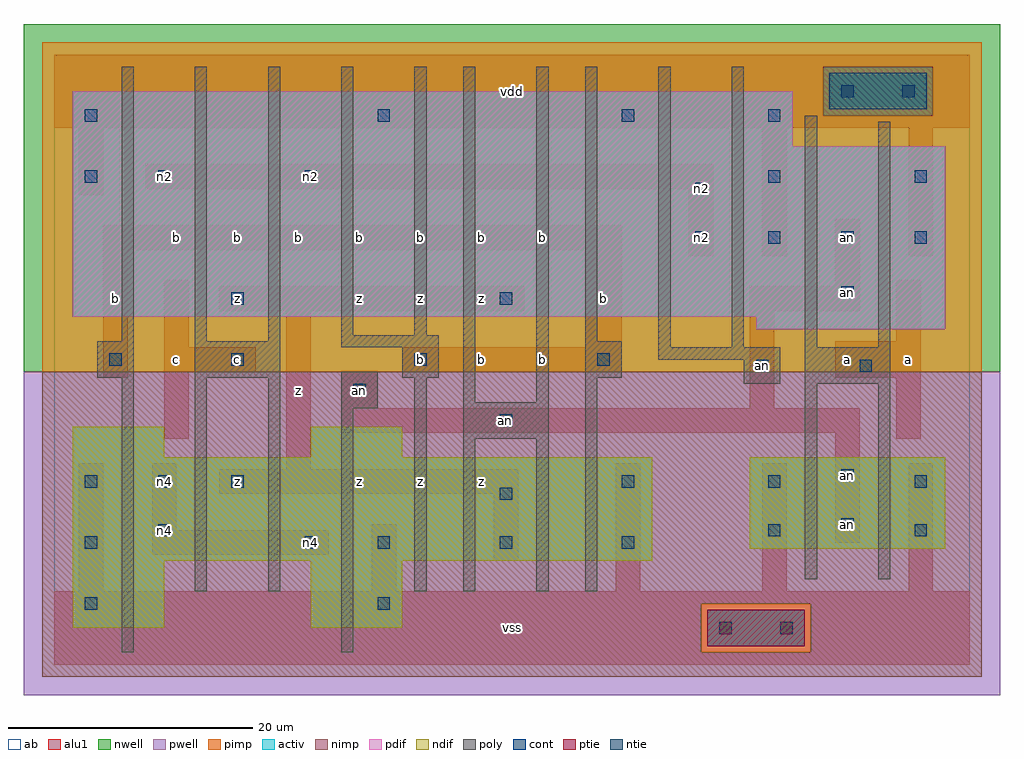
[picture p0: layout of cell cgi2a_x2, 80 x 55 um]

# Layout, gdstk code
import gdstk
lib = gdstk.Library(unit=1e-6, precision=1e-09)
def R(c, l, rs):  # rectangles x0, y0, x1, y1
    for r in rs: c.add(gdstk.rectangle(r[:2], r[2:], *l))
def A(c, l, x, y, w, h, nx, ny, dx, dy):  # array of equal rectangles
    R(c, l, [(x+i*dx, y+j*dy, x+i*dx+w, y+j*dy+h) for i in range(nx) for j in range(ny)])
ndif = (3, 0)
pdif = (4, 0)
ntie = (5, 0)
ptie = (6, 0)
cont = (25, 0)
pwell = (41, 0)
nwell = (42, 0)
activ = (43, 0)
pimp = (44, 0)
nimp = (45, 0)
poly = (46, 0)
alu1 = (49, 0)
ab = (63, 0)

cgi2a_x2 = lib.new_cell('cgi2a_x2')
R(cgi2a_x2, ndif, [(1.5,3,9,8.5), (21,3,28.5,8.5), (1.5,8.5,49,17), (57,9.5,73,17), (1.5,17,9,19.5), (21,17,28.5,19.5)])
R(cgi2a_x2, pdif, [(57.5,27.5,73,28.5), (1.5,28.5,73,42.5), (1.5,42.5,60.5,47)])
R(cgi2a_x2, ntie, [(63.5,45.5,71.5,48.5)])
R(cgi2a_x2, ptie, [(53.5,1.5,61.5,4.5)])
A(cgi2a_x2, cont, 26.5, 9.5, 1, 1, 3, 1, 10, 0)
A(cgi2a_x2, cont, 2.5, 14.5, 1, 1, 3, 1, 6, 0)
A(cgi2a_x2, cont, 46.5, 14.5, 1, 1, 3, 1, 12, 0)
A(cgi2a_x2, cont, 14.5, 24.5, 1, 1, 3, 1, 15, 0)
A(cgi2a_x2, cont, 52.5, 34.5, 1, 1, 4, 1, 6, 0)
R(cgi2a_x2, cont, [(54.5,2.5,55.5,3.5), (59.5,2.5,60.5,3.5), (2.5,4.5,3.5,5.5), (26.5,4.5,27.5,5.5), (2.5,9.5,3.5,10.5), (20.5,9.5,21.5,10.5), (8.5,10.5,9.5,11.5), (58.5,10.5,59.5,11.5), (70.5,10.5,71.5,11.5), (64.5,11,65.5,12), (36.5,13.5,37.5,14.5), (64.5,15,65.5,16), (36.5,19.5,37.5,20.5), (24.5,22,25.5,23), (57.5,24,58.5,25), (66,24,67,25), (4.5,24.5,5.5,25.5), (14.5,29.5,15.5,30.5), (36.5,29.5,37.5,30.5), (64.5,30,65.5,31), (52.5,38.5,53.5,39.5), (2.5,39.5,3.5,40.5), (8.5,39.5,9.5,40.5), (20.5,39.5,21.5,40.5), (58.5,39.5,59.5,40.5), (70.5,39.5,71.5,40.5), (2.5,44.5,3.5,45.5), (26.5,44.5,27.5,45.5), (46.5,44.5,47.5,45.5), (58.5,44.5,59.5,45.5), (64.5,46.5,65.5,47.5), (69.5,46.5,70.5,47.5)])
R(cgi2a_x2, pwell, [(-2.5,-2.5,77.5,24)])
R(cgi2a_x2, nwell, [(-2.5,24,77.5,52.5)])
R(cgi2a_x2, activ, [(53.5,1.5,61.5,4.5), (1.5,3,9,8.5), (21,3,28.5,8.5), (1.5,8.5,49,17), (57,9.5,73,17), (1.5,17,9,19.5), (21,17,28.5,19.5), (57.5,27.5,73,28.5), (1.5,28.5,73,42.5), (1.5,42.5,60.5,47), (63.5,45.5,71.5,48.5)])
R(cgi2a_x2, pimp, [(53,1,62,5), (-1,24,76,45), (-1,45,63,49), (72,45,76,49), (-1,49,76,51)])
R(cgi2a_x2, nimp, [(-1,-1,76,1), (-1,1,53,5), (62,1,76,5), (-1,5,76,24), (63,45,72,49)])
A(cgi2a_x2, poly, 5.5, 26.5, 1, 22.5, 3, 1, 6, 0)
R(cgi2a_x2, poly, [(5.5,1,6.5,23.5), (23.5,1,24.5,21), (11.5,6,12.5,23.5), (17.5,6,18.5,23.5), (29.5,6,30.5,23.5), (33.5,6,34.5,18.5), (39.5,6,40.5,18.5), (43.5,6,44.5,23.5), (61.5,7,62.5,23), (67.5,7,68.5,23), (33.5,18.5,40.5,21.5), (23.5,21,26.5,24), (33.5,21.5,34.5,49), (39.5,21.5,40.5,49), (56.5,23,59.5,25), (61.5,23,68.5,26), (3.5,23.5,6.5,26.5), (11.5,23.5,18.5,26.5), (28.5,23.5,31.5,26), (43.5,23.5,46.5,26.5), (49.5,25,59.5,26), (23.5,26,31.5,27), (49.5,26,50.5,49), (55.5,26,56.5,49), (61.5,26,62.5,45), (67.5,26,68.5,44.5), (43.5,26.5,44.5,49), (23.5,27,24.5,49), (29.5,27,30.5,49)])
R(cgi2a_x2, alu1, [(0,0,75,6), (0,0,75,6), (2,6,4,16.5), (2,6,4,16.5), (26,6,28,11.5), (26,6,28,11.5), (46,6,48,16.5), (46,6,48,16.5), (58,6,60,16.5), (58,6,60,16.5), (70,6,72,16.5), (70,6,72,16.5), (36,8.5,38,14), (36,8.5,38,14), (8,9,22.5,11), (8,9,22.5,11), (64,10,66,19), (64,10,66,19), (8,11,10,16.5), (8,11,10,16.5), (13.5,14,38,16), (13.5,14,38,16), (19,16,21,29), (19,16,21,29), (9,18.5,11,24), (9,18.5,11,24), (69,18.5,71,23.5), (69,18.5,71,23.5), (23.5,19,66,21), (23.5,19,66,21), (23.5,21,26.5,24), (23.5,21,26.5,24), (57,21,59,29), (57,21,59,29), (4,23.5,6,34), (4,23.5,6,34), (64,23.5,71,26.5), (64,23.5,71,26.5), (9,24,16.5,26), (9,24,16.5,26), (28.5,24,46.5,26), (28.5,24,46.5,26), (9,26,11,31.5), (9,26,11,31.5), (43.5,26,46.5,34), (43.5,26,46.5,34), (69,26.5,71,31.5), (69,26.5,71,31.5), (13.5,29,38.5,31), (13.5,29,38.5,31), (57,29,66,31), (57,29,66,31), (64,31,66,36.5), (64,31,66,36.5), (52,33.5,54,39), (52,33.5,54,39), (58,33.5,60,44), (58,33.5,60,44), (70,33.5,72,44), (70,33.5,72,44), (4,34,46.5,36), (4,34,46.5,36), (2,38.5,4,44), (2,38.5,4,44), (7.5,39,54,41), (7.5,39,54,41), (0,44,75,50), (0,44,75,50)])
R(cgi2a_x2, ab, [(0,0,75,50)])
cgi2a_x2.add(gdstk.Label('n4', (9,11), layer=49, texttype=0))
cgi2a_x2.add(gdstk.Label('n4', (9,15), layer=49, texttype=0))
cgi2a_x2.add(gdstk.Label('n2', (9,40), layer=49, texttype=0))
cgi2a_x2.add(gdstk.Label('n4', (21,10), layer=49, texttype=0))
cgi2a_x2.add(gdstk.Label('an', (25,22.5), layer=49, texttype=0))
cgi2a_x2.add(gdstk.Label('n2', (21,40), layer=49, texttype=0))
cgi2a_x2.add(gdstk.Label('an', (37,20), layer=49, texttype=0))
cgi2a_x2.add(gdstk.Label('n2', (53,35), layer=49, texttype=0))
cgi2a_x2.add(gdstk.Label('n2', (53,39), layer=49, texttype=0))
cgi2a_x2.add(gdstk.Label('an', (65,11.5), layer=49, texttype=0))
cgi2a_x2.add(gdstk.Label('an', (65,15.5), layer=49, texttype=0))
cgi2a_x2.add(gdstk.Label('an', (58,24.5), layer=49, texttype=0))
cgi2a_x2.add(gdstk.Label('an', (65,30.5), layer=49, texttype=0))
cgi2a_x2.add(gdstk.Label('an', (65,35), layer=49, texttype=0))
cgi2a_x2.add(gdstk.Label('c', (10,25), layer=49, texttype=0))
cgi2a_x2.add(gdstk.Label('b', (5,30), layer=49, texttype=0))
cgi2a_x2.add(gdstk.Label('b', (10,35), layer=49, texttype=0))
cgi2a_x2.add(gdstk.Label('z', (15,15), layer=49, texttype=0))
cgi2a_x2.add(gdstk.Label('z', (25,15), layer=49, texttype=0))
cgi2a_x2.add(gdstk.Label('c', (15,25), layer=49, texttype=0))
cgi2a_x2.add(gdstk.Label('z', (20,22.5), layer=49, texttype=0))
cgi2a_x2.add(gdstk.Label('z', (25,30), layer=49, texttype=0))
cgi2a_x2.add(gdstk.Label('z', (15,30), layer=49, texttype=0))
cgi2a_x2.add(gdstk.Label('b', (15,35), layer=49, texttype=0))
cgi2a_x2.add(gdstk.Label('b', (20,35), layer=49, texttype=0))
cgi2a_x2.add(gdstk.Label('b', (25,35), layer=49, texttype=0))
cgi2a_x2.add(gdstk.Label('vss', (37.5,3), layer=49, texttype=0))
cgi2a_x2.add(gdstk.Label('z', (30,15), layer=49, texttype=0))
cgi2a_x2.add(gdstk.Label('z', (35,15), layer=49, texttype=0))
cgi2a_x2.add(gdstk.Label('b', (30,25), layer=49, texttype=0))
cgi2a_x2.add(gdstk.Label('b', (40,25), layer=49, texttype=0))
cgi2a_x2.add(gdstk.Label('b', (35,25), layer=49, texttype=0))
cgi2a_x2.add(gdstk.Label('z', (35,30), layer=49, texttype=0))
cgi2a_x2.add(gdstk.Label('z', (30,30), layer=49, texttype=0))
cgi2a_x2.add(gdstk.Label('b', (30,35), layer=49, texttype=0))
cgi2a_x2.add(gdstk.Label('b', (35,35), layer=49, texttype=0))
cgi2a_x2.add(gdstk.Label('b', (40,35), layer=49, texttype=0))
cgi2a_x2.add(gdstk.Label('vdd', (37.5,47), layer=49, texttype=0))
cgi2a_x2.add(gdstk.Label('b', (45,30), layer=49, texttype=0))
cgi2a_x2.add(gdstk.Label('a', (70,25), layer=49, texttype=0))
cgi2a_x2.add(gdstk.Label('a', (65,25), layer=49, texttype=0))

lib.write_gds('cgi2a_x2.gds')
